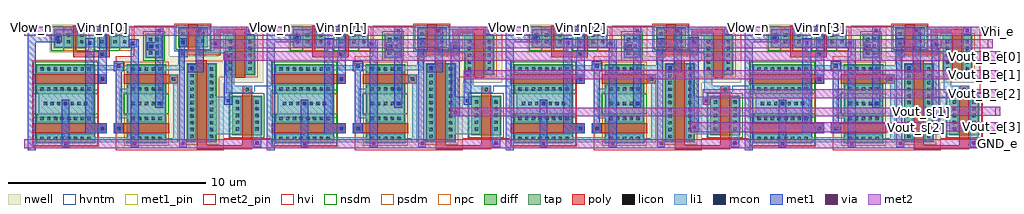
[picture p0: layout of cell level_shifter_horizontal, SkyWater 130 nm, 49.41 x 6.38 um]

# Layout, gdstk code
import gdstk
lib = gdstk.Library(unit=1e-6, precision=1e-09)
def R(c, l, rs):  # rectangles x0, y0, x1, y1
    for r in rs: c.add(gdstk.rectangle(r[:2], r[2:], *l))
def A(c, l, x, y, w, h, nx, ny, dx, dy):  # array of equal rectangles
    R(c, l, [(x+i*dx, y+j*dy, x+i*dx+w, y+j*dy+h) for i in range(nx) for j in range(ny)])
nwell = (64, 20)
diff = (65, 20)
tap = (65, 44)
poly = (66, 20)
licon = (66, 44)
li1 = (67, 20)
mcon = (67, 44)
met1_pin = (68, 16)
met1 = (68, 20)
via = (68, 44)
met2_pin = (69, 16)
met2 = (69, 20)
hvi = (75, 20)
nsdm = (93, 44)
psdm = (94, 20)
npc = (95, 20)
hvntm = (125, 20)

level_shifter_horizontal = lib.new_cell('level_shifter_horizontal')
A(level_shifter_horizontal, nwell, -61.9, 5.65, 5.45, 3.4, 4, 1, 12.1, 0)
A(level_shifter_horizontal, nwell, -61.9, 9.05, 7.45, 1.35, 4, 1, 12.1, 0)
A(level_shifter_horizontal, nwell, -61, 10.4, 1.8, 1.55, 4, 1, 12.1, 0)
A(level_shifter_horizontal, nwell, -56.7, 10.4, 2.25, 1.5, 4, 1, 12.1, 0)
A(level_shifter_horizontal, nwell, -65.25, 10.6, 2.05, 1.4, 4, 1, 12.1, 0)
A(level_shifter_horizontal, diff, -65.95, 6, 3, 1.5, 4, 2, 12.1, 2.5)
A(level_shifter_horizontal, diff, -61.35, 6, 2, 1.5, 4, 2, 12.1, 2.5)
A(level_shifter_horizontal, diff, -58.3, 6.05, 1.5, 4, 4, 1, 12.1, 0)
A(level_shifter_horizontal, diff, -56, 6.4, 1.5, 2, 4, 1, 12.1, 0)
A(level_shifter_horizontal, diff, -56.35, 9.45, 1.5, 2, 4, 1, 12.1, 0)
A(level_shifter_horizontal, diff, -58.75, 10.85, 1.5, 1, 4, 1, 12.1, 0)
R(level_shifter_horizontal, diff, [(-64.55,10.8,-63.4,11.8), (-62.85,10.8,-61.7,11.8), (-52.45,10.8,-51.3,11.8), (-50.75,10.8,-49.6,11.8), (-40.35,10.8,-39.2,11.8), (-38.65,10.8,-37.5,11.8), (-28.25,10.8,-27.1,11.8), (-26.55,10.8,-25.4,11.8)])
A(level_shifter_horizontal, tap, -65.95, 7.5, 3, 1, 4, 1, 12.1, 0)
A(level_shifter_horizontal, tap, -61.35, 7.5, 2, 1, 4, 1, 12.1, 0)
A(level_shifter_horizontal, tap, -60.4, 10.3, 0.85, 1.25, 4, 1, 12.1, 0)
R(level_shifter_horizontal, tap, [(-65.05,10.8,-64.55,11.8), (-61.7,10.8,-61.2,11.8), (-52.95,10.8,-52.45,11.8), (-49.6,10.8,-49.1,11.8), (-40.85,10.8,-40.35,11.8), (-37.5,10.8,-37,11.8), (-28.75,10.8,-28.25,11.8), (-25.4,10.8,-24.9,11.8)])
A(level_shifter_horizontal, poly, -57.8, 5.7, 2.8, 0.2, 4, 1, 12.1, 0)
A(level_shifter_horizontal, poly, -57.8, 5.9, 0.5, 4.3, 4, 1, 12.1, 0)
A(level_shifter_horizontal, poly, -55.5, 5.9, 0.5, 3, 4, 1, 12.1, 0)
A(level_shifter_horizontal, poly, -66.1, 6.5, 3.75, 0.5, 4, 2, 12.1, 2.5)
A(level_shifter_horizontal, poly, -61.95, 6.5, 2.75, 0.5, 4, 1, 12.1, 0)
A(level_shifter_horizontal, poly, -61.5, 9, 2.75, 0.5, 4, 1, 12.1, 0)
A(level_shifter_horizontal, poly, -55.85, 9.3, 0.5, 2.3, 4, 1, 12.1, 0)
A(level_shifter_horizontal, poly, -64.05, 10.35, 1.85, 0.3, 4, 1, 12.1, 0)
A(level_shifter_horizontal, poly, -58.75, 10.35, 0.5, 0.1, 4, 1, 12.1, 0)
A(level_shifter_horizontal, poly, -58.75, 10.45, 2.15, 0.25, 4, 1, 12.1, 0)
A(level_shifter_horizontal, poly, -58.25, 10.7, 0.5, 1.3, 4, 1, 12.1, 0)
A(level_shifter_horizontal, poly, -56.95, 10.7, 0.35, 0.9, 4, 1, 12.1, 0)
A(level_shifter_horizontal, poly, -56.95, 11.6, 1.6, 0.2, 4, 1, 12.1, 0)
R(level_shifter_horizontal, poly, [(-64.05,10.65,-63.9,11.95), (-62.35,10.65,-62.2,11.95), (-51.95,10.65,-51.8,11.95), (-50.25,10.65,-50.1,11.95), (-39.85,10.65,-39.7,11.95), (-38.15,10.65,-38,11.95), (-27.75,10.65,-27.6,11.95), (-26.05,10.65,-25.9,11.95)])
A(level_shifter_horizontal, licon, -65.725, 6.165, 0.17, 0.17, 8, 2, 0.34, 1)
A(level_shifter_horizontal, licon, -61.115, 6.165, 0.17, 0.17, 5, 2, 0.34, 1)
A(level_shifter_horizontal, licon, -53.625, 6.165, 0.17, 0.17, 8, 2, 0.34, 1)
A(level_shifter_horizontal, licon, -49.015, 6.165, 0.17, 0.17, 5, 2, 0.34, 1)
A(level_shifter_horizontal, licon, -41.525, 6.165, 0.17, 0.17, 8, 2, 0.34, 1)
A(level_shifter_horizontal, licon, -36.915, 6.165, 0.17, 0.17, 5, 2, 0.34, 1)
A(level_shifter_horizontal, licon, -29.425, 6.165, 0.17, 0.17, 8, 2, 0.34, 1)
A(level_shifter_horizontal, licon, -24.815, 6.165, 0.17, 0.17, 5, 2, 0.34, 1)
A(level_shifter_horizontal, licon, -58.135, 6.265, 0.17, 0.17, 1, 11, 0, 0.34)
A(level_shifter_horizontal, licon, -57.135, 6.265, 0.17, 0.17, 1, 11, 0, 0.34)
A(level_shifter_horizontal, licon, -46.035, 6.265, 0.17, 0.17, 1, 11, 0, 0.34)
A(level_shifter_horizontal, licon, -45.035, 6.265, 0.17, 0.17, 1, 11, 0, 0.34)
A(level_shifter_horizontal, licon, -33.935, 6.265, 0.17, 0.17, 1, 11, 0, 0.34)
A(level_shifter_horizontal, licon, -32.935, 6.265, 0.17, 0.17, 1, 11, 0, 0.34)
A(level_shifter_horizontal, licon, -21.835, 6.265, 0.17, 0.17, 1, 11, 0, 0.34)
A(level_shifter_horizontal, licon, -20.835, 6.265, 0.17, 0.17, 1, 11, 0, 0.34)
A(level_shifter_horizontal, licon, -55.835, 6.635, 0.17, 0.17, 1, 5, 0, 0.34)
A(level_shifter_horizontal, licon, -54.835, 6.635, 0.17, 0.17, 1, 5, 0, 0.34)
A(level_shifter_horizontal, licon, -43.735, 6.635, 0.17, 0.17, 1, 5, 0, 0.34)
A(level_shifter_horizontal, licon, -42.735, 6.635, 0.17, 0.17, 1, 5, 0, 0.34)
A(level_shifter_horizontal, licon, -31.635, 6.635, 0.17, 0.17, 1, 5, 0, 0.34)
A(level_shifter_horizontal, licon, -30.635, 6.635, 0.17, 0.17, 1, 5, 0, 0.34)
A(level_shifter_horizontal, licon, -19.535, 6.635, 0.17, 0.17, 1, 5, 0, 0.34)
A(level_shifter_horizontal, licon, -18.535, 6.635, 0.17, 0.17, 1, 5, 0, 0.34)
A(level_shifter_horizontal, licon, -65.555, 7.915, 0.17, 0.17, 7, 1, 0.34, 0)
A(level_shifter_horizontal, licon, -61.115, 7.915, 0.17, 0.17, 5, 2, 0.34, 0.75)
A(level_shifter_horizontal, licon, -53.455, 7.915, 0.17, 0.17, 7, 1, 0.34, 0)
A(level_shifter_horizontal, licon, -49.015, 7.915, 0.17, 0.17, 5, 2, 0.34, 0.75)
A(level_shifter_horizontal, licon, -41.355, 7.915, 0.17, 0.17, 7, 1, 0.34, 0)
A(level_shifter_horizontal, licon, -36.915, 7.915, 0.17, 0.17, 5, 2, 0.34, 0.75)
A(level_shifter_horizontal, licon, -29.255, 7.915, 0.17, 0.17, 7, 1, 0.34, 0)
A(level_shifter_horizontal, licon, -24.815, 7.915, 0.17, 0.17, 5, 2, 0.34, 0.75)
A(level_shifter_horizontal, licon, -55.335, 8.64, 0.17, 0.17, 4, 1, 12.1, 0)
A(level_shifter_horizontal, licon, -65.725, 8.665, 0.17, 0.17, 8, 2, 0.34, 1)
A(level_shifter_horizontal, licon, -53.625, 8.665, 0.17, 0.17, 8, 2, 0.34, 1)
A(level_shifter_horizontal, licon, -41.525, 8.665, 0.17, 0.17, 8, 2, 0.34, 1)
A(level_shifter_horizontal, licon, -29.425, 8.665, 0.17, 0.17, 8, 2, 0.34, 1)
A(level_shifter_horizontal, licon, -61.115, 9.665, 0.17, 0.17, 5, 1, 0.34, 0)
A(level_shifter_horizontal, licon, -49.015, 9.665, 0.17, 0.17, 5, 1, 0.34, 0)
A(level_shifter_horizontal, licon, -36.915, 9.665, 0.17, 0.17, 5, 1, 0.34, 0)
A(level_shifter_horizontal, licon, -24.815, 9.665, 0.17, 0.17, 5, 1, 0.34, 0)
A(level_shifter_horizontal, licon, -56.185, 9.685, 0.17, 0.17, 1, 5, 0, 0.34)
A(level_shifter_horizontal, licon, -55.185, 9.685, 0.17, 0.17, 1, 5, 0, 0.34)
A(level_shifter_horizontal, licon, -44.085, 9.685, 0.17, 0.17, 1, 5, 0, 0.34)
A(level_shifter_horizontal, licon, -43.085, 9.685, 0.17, 0.17, 1, 5, 0, 0.34)
A(level_shifter_horizontal, licon, -31.985, 9.685, 0.17, 0.17, 1, 5, 0, 0.34)
A(level_shifter_horizontal, licon, -30.985, 9.685, 0.17, 0.17, 1, 5, 0, 0.34)
A(level_shifter_horizontal, licon, -19.885, 9.685, 0.17, 0.17, 1, 5, 0, 0.34)
A(level_shifter_horizontal, licon, -18.885, 9.685, 0.17, 0.17, 1, 5, 0, 0.34)
A(level_shifter_horizontal, licon, -62.685, 10.415, 0.17, 0.17, 4, 1, 12.1, 0)
A(level_shifter_horizontal, licon, -58.585, 10.44, 0.17, 0.17, 4, 1, 12.1, 0)
A(level_shifter_horizontal, licon, -60.23, 10.475, 0.17, 0.17, 1, 3, 0, 0.34)
A(level_shifter_horizontal, licon, -59.89, 10.475, 0.17, 0.17, 1, 3, 0, 0.34)
A(level_shifter_horizontal, licon, -48.13, 10.475, 0.17, 0.17, 1, 3, 0, 0.34)
A(level_shifter_horizontal, licon, -47.79, 10.475, 0.17, 0.17, 1, 3, 0, 0.34)
A(level_shifter_horizontal, licon, -36.03, 10.475, 0.17, 0.17, 1, 3, 0, 0.34)
A(level_shifter_horizontal, licon, -35.69, 10.475, 0.17, 0.17, 1, 3, 0, 0.34)
A(level_shifter_horizontal, licon, -23.93, 10.475, 0.17, 0.17, 1, 3, 0, 0.34)
A(level_shifter_horizontal, licon, -23.59, 10.475, 0.17, 0.17, 1, 3, 0, 0.34)
R(level_shifter_horizontal, licon, [(-62.66,6.665,-62.49,6.835), (-61.81,6.665,-61.64,6.835), (-50.56,6.665,-50.39,6.835), (-49.71,6.665,-49.54,6.835), (-38.46,6.665,-38.29,6.835), (-37.61,6.665,-37.44,6.835), (-26.36,6.665,-26.19,6.835), (-25.51,6.665,-25.34,6.835), (-62.66,9.165,-62.49,9.335), (-59.06,9.165,-58.89,9.335), (-50.56,9.165,-50.39,9.335), (-46.96,9.165,-46.79,9.335), (-38.46,9.165,-38.29,9.335), (-34.86,9.165,-34.69,9.335), (-26.36,9.165,-26.19,9.335), (-22.76,9.165,-22.59,9.335), (-64.885,11.045,-64.715,11.215), (-64.385,11.045,-64.215,11.215), (-63.71,11.045,-63.54,11.215), (-62.685,11.045,-62.515,11.215), (-62.035,11.045,-61.865,11.215), (-61.535,11.045,-61.365,11.215), (-52.785,11.045,-52.615,11.215), (-52.285,11.045,-52.115,11.215), (-51.61,11.045,-51.44,11.215), (-50.585,11.045,-50.415,11.215), (-49.935,11.045,-49.765,11.215), (-49.435,11.045,-49.265,11.215), (-40.685,11.045,-40.515,11.215), (-40.185,11.045,-40.015,11.215), (-39.51,11.045,-39.34,11.215), (-38.485,11.045,-38.315,11.215), (-37.835,11.045,-37.665,11.215), (-37.335,11.045,-37.165,11.215), (-28.585,11.045,-28.415,11.215), (-28.085,11.045,-27.915,11.215), (-27.41,11.045,-27.24,11.215), (-26.385,11.045,-26.215,11.215), (-25.735,11.045,-25.565,11.215), (-25.235,11.045,-25.065,11.215), (-58.585,11.095,-58.415,11.265), (-57.585,11.095,-57.415,11.265), (-46.485,11.095,-46.315,11.265), (-45.485,11.095,-45.315,11.265), (-34.385,11.095,-34.215,11.265), (-33.385,11.095,-33.215,11.265), (-22.285,11.095,-22.115,11.265), (-21.285,11.095,-21.115,11.265), (-64.885,11.385,-64.715,11.555), (-64.385,11.385,-64.215,11.555), (-63.71,11.385,-63.54,11.555), (-62.685,11.385,-62.515,11.555), (-62.035,11.385,-61.865,11.555), (-61.535,11.385,-61.365,11.555), (-52.785,11.385,-52.615,11.555), (-52.285,11.385,-52.115,11.555), (-51.61,11.385,-51.44,11.555), (-50.585,11.385,-50.415,11.555), (-49.935,11.385,-49.765,11.555), (-49.435,11.385,-49.265,11.555), (-40.685,11.385,-40.515,11.555), (-40.185,11.385,-40.015,11.555), (-39.51,11.385,-39.34,11.555), (-38.485,11.385,-38.315,11.555), (-37.835,11.385,-37.665,11.555), (-37.335,11.385,-37.165,11.555), (-28.585,11.385,-28.415,11.555), (-28.085,11.385,-27.915,11.555), (-27.41,11.385,-27.24,11.555), (-26.385,11.385,-26.215,11.555), (-25.735,11.385,-25.565,11.555), (-25.235,11.385,-25.065,11.555), (-58.585,11.435,-58.415,11.605), (-57.585,11.435,-57.415,11.605), (-46.485,11.435,-46.315,11.605), (-45.485,11.435,-45.315,11.605), (-34.385,11.435,-34.215,11.605), (-33.385,11.435,-33.215,11.605), (-22.285,11.435,-22.115,11.605), (-21.285,11.435,-21.115,11.605)])
A(level_shifter_horizontal, li1, -54.95, 5.8, 0.4, 2.55, 4, 1, 12.1, 0)
A(level_shifter_horizontal, li1, -65.9, 6.05, 7.15, 0.2, 4, 1, 12.1, 0)
A(level_shifter_horizontal, li1, -58.25, 6.1, 0.4, 3.9, 4, 1, 12.1, 0)
A(level_shifter_horizontal, li1, -57.25, 6.1, 0.4, 0.35, 4, 1, 12.1, 0)
A(level_shifter_horizontal, li1, -65.9, 6.25, 6.5, 0.05, 4, 1, 12.1, 0)
A(level_shifter_horizontal, li1, -59, 6.25, 0.25, 2.75, 4, 1, 12.1, 0)
A(level_shifter_horizontal, li1, -65.9, 6.3, 2.9, 0.15, 4, 2, 12.1, 3.25)
A(level_shifter_horizontal, li1, -61.3, 6.3, 1.9, 0.15, 4, 2, 12.1, 3.25)
A(level_shifter_horizontal, li1, -57.25, 6.45, 1.7, 1.9, 4, 1, 12.1, 0)
A(level_shifter_horizontal, li1, -65.9, 7.05, 2.9, 0.4, 4, 2, 12.1, 1.5)
A(level_shifter_horizontal, li1, -61.3, 7.05, 1.9, 0.2, 4, 2, 12.1, 1.7)
A(level_shifter_horizontal, li1, -61.7, 7.25, 2.3, 0.2, 4, 2, 12.1, 1.3)
A(level_shifter_horizontal, li1, -65.8, 7.45, 2.7, 1.1, 4, 1, 12.1, 0)
A(level_shifter_horizontal, li1, -61.7, 7.45, 0.2, 1.1, 4, 1, 12.1, 0)
A(level_shifter_horizontal, li1, -61.3, 7.45, 1.9, 1.1, 4, 1, 12.1, 0)
A(level_shifter_horizontal, li1, -57.25, 8.35, 0.4, 1.65, 4, 1, 12.1, 0)
A(level_shifter_horizontal, li1, -56.3, 8.55, 1.3, 0.35, 4, 1, 12.1, 0)
A(level_shifter_horizontal, li1, -56.3, 8.9, 0.4, 1.65, 4, 1, 12.1, 0)
A(level_shifter_horizontal, li1, -55.3, 9.5, 0.4, 2.4, 4, 1, 12.1, 0)
A(level_shifter_horizontal, li1, -65.9, 9.7, 7.45, 0.25, 4, 1, 12.1, 0)
A(level_shifter_horizontal, li1, -62, 9.95, 0.5, 0.1, 4, 1, 12.1, 0)
A(level_shifter_horizontal, li1, -58.75, 9.95, 0.3, 0.4, 4, 1, 12.1, 0)
A(level_shifter_horizontal, li1, -62.8, 10.35, 0.4, 0.3, 4, 1, 12.1, 0)
A(level_shifter_horizontal, li1, -60.35, 10.35, 0.75, 1.1, 4, 1, 12.1, 0)
A(level_shifter_horizontal, li1, -58.75, 10.35, 0.5, 0.35, 4, 1, 12.1, 0)
A(level_shifter_horizontal, li1, -57.7, 10.55, 1.8, 1.25, 4, 1, 12.1, 0)
A(level_shifter_horizontal, li1, -65, 10.85, 0.9, 0.9, 4, 1, 12.1, 0)
A(level_shifter_horizontal, li1, -63.85, 10.85, 1.45, 0.9, 4, 1, 12.1, 0)
A(level_shifter_horizontal, li1, -62.15, 10.85, 1.3, 0.4, 4, 1, 12.1, 0)
A(level_shifter_horizontal, li1, -58.7, 10.9, 0.4, 0.9, 4, 1, 12.1, 0)
A(level_shifter_horizontal, li1, -62.15, 11.25, 0.9, 0.5, 4, 1, 12.1, 0)
R(level_shifter_horizontal, li1, [(-62.8,6.5,-62.35,7), (-61.95,6.5,-61.5,7), (-50.7,6.5,-50.25,7), (-49.85,6.5,-49.4,7), (-38.6,6.5,-38.15,7), (-37.75,6.5,-37.3,7), (-26.5,6.5,-26.05,7), (-25.65,6.5,-25.2,7), (-62.8,9,-62.35,9.5), (-59.2,9,-58.75,9.5), (-50.7,9,-50.25,9.5), (-47.1,9,-46.65,9.5), (-38.6,9,-38.15,9.5), (-35,9,-34.55,9.5), (-26.5,9,-26.05,9.5), (-22.9,9,-22.45,9.5)])
A(level_shifter_horizontal, mcon, -54.835, 5.915, 0.17, 0.17, 4, 1, 12.1, 0)
A(level_shifter_horizontal, mcon, -56.285, 8.065, 0.17, 0.17, 3, 1, 12.1, 0)
A(level_shifter_horizontal, mcon, -62.66, 9.165, 0.17, 0.17, 4, 1, 12.1, 0)
A(level_shifter_horizontal, mcon, -58.135, 9.715, 0.17, 0.17, 4, 1, 12.1, 0)
A(level_shifter_horizontal, mcon, -61.835, 9.815, 0.17, 0.17, 4, 1, 12.1, 0)
A(level_shifter_horizontal, mcon, -62.685, 10.415, 0.17, 0.17, 4, 1, 12.1, 0)
A(level_shifter_horizontal, mcon, -60.185, 10.815, 0.17, 0.17, 4, 1, 12.1, 0)
A(level_shifter_horizontal, mcon, -49.035, 10.965, 0.17, 0.17, 3, 1, 12.1, 0)
A(level_shifter_horizontal, mcon, -63.31, 10.99, 0.17, 0.17, 4, 1, 12.1, 0)
A(level_shifter_horizontal, mcon, -58.585, 11.015, 0.17, 0.17, 4, 1, 12.1, 0)
A(level_shifter_horizontal, mcon, -64.935, 11.215, 0.17, 0.17, 4, 1, 12.1, 0)
A(level_shifter_horizontal, mcon, -55.185, 11.615, 0.17, 0.17, 4, 1, 12.1, 0)
R(level_shifter_horizontal, mcon, [(-62.66,6.665,-62.49,6.835), (-61.835,6.665,-61.665,6.835), (-50.56,6.665,-50.39,6.835), (-49.735,6.665,-49.565,6.835), (-38.46,6.665,-38.29,6.835), (-37.635,6.665,-37.465,6.835), (-26.36,6.665,-26.19,6.835), (-25.535,6.665,-25.365,6.835), (-19.985,7.515,-19.815,7.685), (-64.535,7.915,-64.365,8.085), (-59.785,7.915,-59.615,8.085), (-52.435,7.915,-52.265,8.085), (-47.685,7.915,-47.515,8.085), (-40.335,7.915,-40.165,8.085), (-35.585,7.915,-35.415,8.085), (-28.235,7.915,-28.065,8.085), (-23.485,7.915,-23.315,8.085), (-44.81,10.79,-44.64,10.96), (-20.435,10.915,-20.265,11.085), (-61.135,10.965,-60.965,11.135), (-56.935,10.965,-56.765,11.135), (-32.71,11.04,-32.54,11.21)])
R(level_shifter_horizontal, met1_pin, [(-66.35,11.75,-65.95,12), (-62.75,11.75,-62.35,12), (-54.25,11.75,-53.85,12), (-50.65,11.75,-50.25,12), (-42.15,11.75,-41.75,12), (-38.55,11.75,-38.15,12), (-30.05,11.75,-29.65,12), (-26.45,11.75,-26.05,12)])
A(level_shifter_horizontal, met1, -66.35, 5.65, 0.4, 5.45, 4, 1, 12.1, 0)
A(level_shifter_horizontal, met1, -64.65, 5.8, 0.4, 2.4, 4, 1, 12.1, 0)
A(level_shifter_horizontal, met1, -61.15, 5.8, 0.4, 5.05, 4, 1, 12.1, 0)
A(level_shifter_horizontal, met1, -58.7, 5.8, 0.4, 0.35, 4, 1, 12.1, 0)
A(level_shifter_horizontal, met1, -54.95, 5.8, 0.4, 0.4, 4, 1, 12.1, 0)
A(level_shifter_horizontal, met1, -58.7, 6.15, 0.3, 4.7, 4, 1, 12.1, 0)
A(level_shifter_horizontal, met1, -63.45, 6.5, 1.1, 0.5, 4, 1, 12.1, 0)
A(level_shifter_horizontal, met1, -62, 6.5, 0.5, 0.5, 4, 2, 12.1, 3.15)
A(level_shifter_horizontal, met1, -63.45, 7, 0.45, 4.3, 4, 1, 12.1, 0)
A(level_shifter_horizontal, met1, -61.9, 7, 0.3, 2.65, 4, 1, 12.1, 0)
A(level_shifter_horizontal, met1, -59.9, 7.8, 0.4, 2.9, 4, 1, 12.1, 0)
A(level_shifter_horizontal, met1, -62.8, 9, 0.45, 1.7, 4, 1, 12.1, 0)
A(level_shifter_horizontal, met1, -58.25, 9.6, 0.8, 0.4, 4, 1, 12.1, 0)
A(level_shifter_horizontal, met1, -57.85, 10, 0.4, 1.9, 4, 1, 12.1, 0)
A(level_shifter_horizontal, met1, -62.75, 10.7, 0.4, 1.3, 4, 1, 12.1, 0)
A(level_shifter_horizontal, met1, -60.3, 10.7, 0.8, 0.4, 4, 1, 12.1, 0)
A(level_shifter_horizontal, met1, -61.25, 10.85, 0.5, 0.4, 4, 1, 12.1, 0)
A(level_shifter_horizontal, met1, -58.7, 10.85, 0.4, 0.45, 4, 1, 12.1, 0)
A(level_shifter_horizontal, met1, -66.35, 11.1, 1.7, 0.4, 4, 1, 12.1, 0)
A(level_shifter_horizontal, met1, -59.9, 11.1, 0.4, 0.8, 4, 1, 12.1, 0)
A(level_shifter_horizontal, met1, -66.35, 11.5, 0.4, 0.5, 4, 1, 12.1, 0)
A(level_shifter_horizontal, met1, -55.3, 11.5, 0.4, 0.4, 4, 1, 12.1, 0)
R(level_shifter_horizontal, met1, [(-32.85,6.55,-32.4,11.35), (-20.6,6.6,-20.1,7.05), (-20.6,7.05,-20.22,10.8), (-44.95,7.35,-44.5,11.1), (-20.05,7.4,-19.7,7.8), (-56.4,7.95,-56,10.55), (-44.3,7.95,-43.9,9.65), (-32.2,7.95,-31.8,8.35), (-57.1,10.8,-56.6,11.25), (-20.6,10.8,-20.1,11.25)])
R(level_shifter_horizontal, via, [(-64.525,5.925,-64.375,6.075), (-61.025,5.925,-60.875,6.075), (-58.575,5.925,-58.425,6.075), (-54.825,5.925,-54.675,6.075), (-52.425,5.925,-52.275,6.075), (-48.925,5.925,-48.775,6.075), (-46.475,5.925,-46.325,6.075), (-42.725,5.925,-42.575,6.075), (-40.325,5.925,-40.175,6.075), (-36.825,5.925,-36.675,6.075), (-34.375,5.925,-34.225,6.075), (-30.625,5.925,-30.475,6.075), (-28.225,5.925,-28.075,6.075), (-24.725,5.925,-24.575,6.075), (-22.275,5.925,-22.125,6.075), (-18.525,5.925,-18.375,6.075), (-32.7,6.725,-32.55,6.875), (-20.425,6.775,-20.275,6.925), (-44.8,7.5,-44.65,7.65), (-19.975,7.525,-19.825,7.675), (-32.075,8.075,-31.925,8.225), (-44.175,9.375,-44.025,9.525), (-56.275,10.325,-56.125,10.475), (-56.925,10.975,-56.775,11.125), (-59.775,11.625,-59.625,11.775), (-57.725,11.625,-57.575,11.775), (-55.175,11.625,-55.025,11.775), (-47.675,11.625,-47.525,11.775), (-45.625,11.625,-45.475,11.775), (-43.075,11.625,-42.925,11.775), (-35.575,11.625,-35.425,11.775), (-33.525,11.625,-33.375,11.775), (-30.975,11.625,-30.825,11.775), (-23.475,11.625,-23.325,11.775), (-21.425,11.625,-21.275,11.775), (-18.875,11.625,-18.725,11.775)])
A(level_shifter_horizontal, met2_pin, -17.39, 8.28, 0.25, 0.46, 1, 3, 0, 0.95)
R(level_shifter_horizontal, met2_pin, [(-17.39,5.73,-17.14,6.19), (-21.6,6.55,-21.15,7.05), (-17.39,6.605,-17.14,7.065), (-21.35,7.35,-20.9,7.85), (-17.39,7.38,-17.14,7.84), (-17.75,10.805,-17.5,11.265), (-17.39,11.43,-17.14,11.89)])
R(level_shifter_horizontal, met2, [(-66.55,5.73,-17.14,6.19), (-64.65,6.19,-64.25,6.2), (-61.15,6.19,-60.75,6.2), (-58.7,6.19,-58.3,6.2), (-54.95,6.19,-54.55,6.2), (-52.55,6.19,-52.15,6.2), (-49.05,6.19,-48.65,6.2), (-46.6,6.19,-46.2,6.2), (-42.85,6.19,-42.45,6.2), (-40.45,6.19,-40.05,6.2), (-36.95,6.19,-36.55,6.2), (-34.5,6.19,-34.1,6.2), (-30.75,6.19,-30.35,6.2), (-28.35,6.19,-27.95,6.2), (-24.85,6.19,-24.45,6.2), (-22.4,6.19,-22,6.2), (-18.65,6.19,-18.25,6.2), (-32.85,6.55,-21.15,7.05), (-20.625,6.605,-17.14,7.065), (-44.975,7.35,-20.9,7.8), (-20.105,7.38,-17.14,7.84), (-21.35,7.8,-20.9,7.85), (-32.2,7.95,-31.8,8.28), (-32.2,8.28,-17.14,8.74), (-44.3,9.23,-17.14,9.69), (-56.4,10.18,-17.14,10.64), (-57.1,10.805,-17.5,11.265), (-66.55,11.43,-17.14,11.89), (-59.9,11.89,-59.5,11.9), (-57.85,11.89,-57.45,11.9), (-55.3,11.89,-54.9,11.9), (-47.8,11.89,-47.4,11.9), (-45.75,11.89,-45.35,11.9), (-43.2,11.89,-42.8,11.9), (-35.7,11.89,-35.3,11.9), (-33.65,11.89,-33.25,11.9), (-31.1,11.89,-30.7,11.9), (-23.6,11.89,-23.2,11.9), (-21.55,11.89,-21.15,11.9), (-19,11.89,-18.6,11.9)])
A(level_shifter_horizontal, hvi, -61.9, 5.65, 5.45, 0.565, 4, 1, 12.1, 0)
A(level_shifter_horizontal, hvi, -54.035, 5.815, 3.37, 0.4, 3, 1, 12.1, 0)
A(level_shifter_horizontal, hvi, -61.9, 6.215, 11.235, 3.97, 3, 1, 12.1, 0)
A(level_shifter_horizontal, hvi, -61.9, 10.185, 7.45, 0.215, 3, 1, 12.1, 0)
A(level_shifter_horizontal, hvi, -61, 10.4, 6.55, 1.5, 4, 1, 12.1, 0)
A(level_shifter_horizontal, hvi, -61, 11.9, 3.935, 0.05, 4, 1, 12.1, 0)
A(level_shifter_horizontal, hvi, -58.935, 11.95, 1.87, 0.085, 4, 1, 12.1, 0)
R(level_shifter_horizontal, hvi, [(-66.135,5.815,-62.765,10.185), (-25.6,6.215,-18.015,8.585), (-25.6,8.585,-18.15,10.4)])
A(level_shifter_horizontal, nsdm, -66.075, 5.875, 3.25, 1.625, 4, 2, 12.1, 2.625)
A(level_shifter_horizontal, nsdm, -56.125, 6.275, 1.75, 2.25, 4, 1, 12.1, 0)
A(level_shifter_horizontal, nsdm, -61.475, 7.5, 2.25, 1, 4, 1, 12.1, 0)
A(level_shifter_horizontal, nsdm, -60.525, 10.175, 1.1, 1.5, 4, 1, 12.1, 0)
A(level_shifter_horizontal, nsdm, -65.175, 10.675, 0.625, 1.25, 4, 1, 12.1, 0)
A(level_shifter_horizontal, nsdm, -62.975, 10.675, 1.275, 1.25, 4, 1, 12.1, 0)
A(level_shifter_horizontal, nsdm, -58.875, 10.725, 1.75, 1.25, 4, 1, 12.1, 0)
A(level_shifter_horizontal, psdm, -61.475, 5.875, 2.25, 1.625, 4, 2, 12.1, 2.625)
A(level_shifter_horizontal, psdm, -58.425, 5.925, 1.75, 3.4, 4, 1, 12.1, 0)
A(level_shifter_horizontal, psdm, -66.075, 7.5, 3.25, 1, 4, 1, 12.1, 0)
A(level_shifter_horizontal, psdm, -58.425, 9.325, 3.7, 0.85, 4, 1, 12.1, 0)
A(level_shifter_horizontal, psdm, -56.475, 10.175, 1.75, 1.4, 4, 1, 12.1, 0)
A(level_shifter_horizontal, psdm, -64.55, 10.675, 1.275, 1.25, 4, 1, 12.1, 0)
A(level_shifter_horizontal, psdm, -61.7, 10.675, 0.625, 1.25, 4, 1, 12.1, 0)
A(level_shifter_horizontal, npc, -55.435, 8.54, 0.37, 0.37, 4, 1, 12.1, 0)
A(level_shifter_horizontal, npc, -62.785, 10.315, 0.37, 0.37, 4, 1, 12.1, 0)
A(level_shifter_horizontal, npc, -58.685, 10.34, 0.37, 0.37, 4, 1, 12.1, 0)
R(level_shifter_horizontal, npc, [(-62.76,6.565,-62.39,6.935), (-61.91,6.565,-61.54,6.935), (-50.66,6.565,-50.29,6.935), (-49.81,6.565,-49.44,6.935), (-38.56,6.565,-38.19,6.935), (-37.71,6.565,-37.34,6.935), (-26.46,6.565,-26.09,6.935), (-25.61,6.565,-25.24,6.935), (-62.76,9.065,-62.39,9.435), (-59.16,9.065,-58.79,9.435), (-50.66,9.065,-50.29,9.435), (-47.06,9.065,-46.69,9.435), (-38.56,9.065,-38.19,9.435), (-34.96,9.065,-34.59,9.435), (-26.46,9.065,-26.09,9.435), (-22.86,9.065,-22.49,9.435)])
A(level_shifter_horizontal, hvntm, -54.035, 5.815, 3.37, 0.4, 3, 1, 12.1, 0)
A(level_shifter_horizontal, hvntm, -56.185, 6.215, 5.52, 1.1, 3, 1, 12.1, 0)
A(level_shifter_horizontal, hvntm, -56.185, 7.315, 2.15, 1.27, 3, 1, 12.1, 0)
A(level_shifter_horizontal, hvntm, -54.895, 8.585, 0.86, 0.1, 3, 1, 12.1, 0)
A(level_shifter_horizontal, hvntm, -54.895, 8.685, 4.23, 0.21, 3, 1, 12.1, 0)
A(level_shifter_horizontal, hvntm, -54.035, 8.895, 3.37, 1.29, 3, 1, 12.1, 0)
A(level_shifter_horizontal, hvntm, -58.935, 10.665, 1.87, 1.37, 4, 1, 12.1, 0)
R(level_shifter_horizontal, hvntm, [(-66.135,5.815,-62.765,7.315), (-19.885,6.215,-18.015,8.585), (-66.135,8.685,-62.765,10.185)])
level_shifter_horizontal.add(gdstk.Label('GND_e', (-17.265,5.96), layer=69, texttype=5))
level_shifter_horizontal.add(gdstk.Label('Vhi_e', (-17.265,11.66), layer=69, texttype=5))
level_shifter_horizontal.add(gdstk.Label('Vin_n[0]', (-62.55,11.875), layer=68, texttype=5))
level_shifter_horizontal.add(gdstk.Label('Vin_n[1]', (-50.45,11.875), layer=68, texttype=5))
level_shifter_horizontal.add(gdstk.Label('Vin_n[2]', (-38.35,11.875), layer=68, texttype=5))
level_shifter_horizontal.add(gdstk.Label('Vin_n[3]', (-26.25,11.875), layer=68, texttype=5))
level_shifter_horizontal.add(gdstk.Label('Vlow_n', (-66.15,11.875), layer=68, texttype=5))
level_shifter_horizontal.add(gdstk.Label('Vlow_n', (-54.05,11.875), layer=68, texttype=5))
level_shifter_horizontal.add(gdstk.Label('Vlow_n', (-41.95,11.875), layer=68, texttype=5))
level_shifter_horizontal.add(gdstk.Label('Vlow_n', (-29.85,11.875), layer=68, texttype=5))
level_shifter_horizontal.add(gdstk.Label('Vout_e[0]', (-17.625,11.035), layer=69, texttype=5))
level_shifter_horizontal.add(gdstk.Label('Vout_s[1]', (-21.125,7.6), layer=69, texttype=5))
level_shifter_horizontal.add(gdstk.Label('Vout_s[2]', (-21.375,6.8), layer=69, texttype=5))
level_shifter_horizontal.add(gdstk.Label('Vout_e[3]', (-17.265,6.835), layer=69, texttype=5))
level_shifter_horizontal.add(gdstk.Label('Vout_B_e[0]', (-17.265,10.41), layer=69, texttype=5))
level_shifter_horizontal.add(gdstk.Label('Vout_B_e[1]', (-17.265,9.46), layer=69, texttype=5))
level_shifter_horizontal.add(gdstk.Label('Vout_B_e[2]', (-17.265,8.51), layer=69, texttype=5))
level_shifter_horizontal.add(gdstk.Label('Vout_B_e[3]', (-17.265,7.61), layer=69, texttype=5))

lib.write_gds('level_shifter_horizontal.gds')
